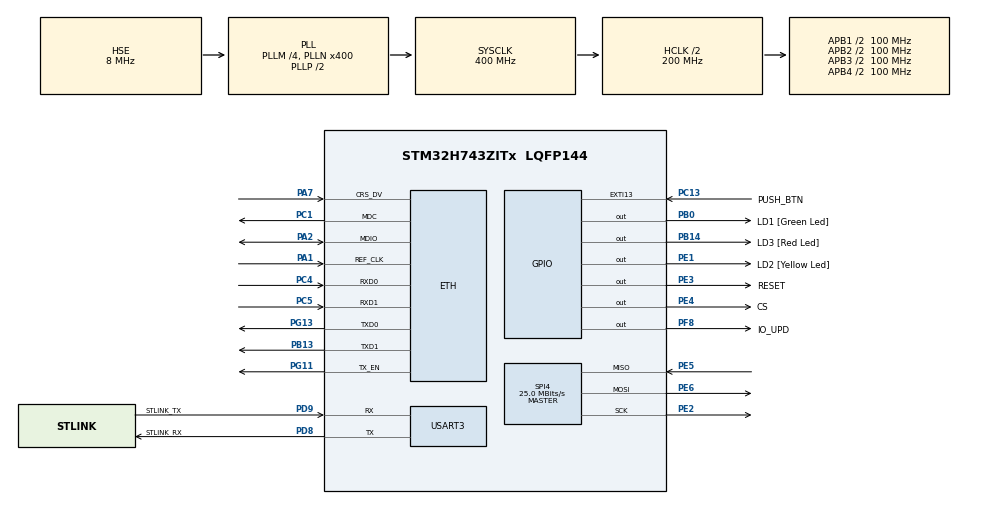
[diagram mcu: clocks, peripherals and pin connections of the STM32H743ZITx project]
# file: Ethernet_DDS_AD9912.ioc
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Mcu.Family=STM32H7
LWIP0.BSP.STBoard=false
VP_SYS_VS_tim6.Mode=TIM6
RCC.CortexFreq_Value=400000000
SPI4.VirtualType=VM_MASTER
RCC.HPRE=RCC_HCLK_DIV2
NVIC.TIM6_DAC_IRQn=true\:0\:0\:false\:false\:true\:false\:false\:true
PH0-OSC_IN\ (PH0).Signal=RCC_OSC_IN
PB14.GPIO_Label=LD3 [Red Led]
SPI4.Direction=SPI_DIRECTION_2LINES
PA2.GPIO_Speed=GPIO_SPEED_FREQ_HIGH
PE2.GPIO_Speed=GPIO_SPEED_FREQ_HIGH
PD9.GPIO_Speed=GPIO_SPEED_FREQ_HIGH
PB0.GPIO_Label=LD1 [Green Led]
PC5.Mode=RMII
PC13.GPIO_Label=PUSH_BTN
PB13.Signal=ETH_TXD1
PG13.Signal=ETH_TXD0
PD9.Mode=Asynchronous
PG11.Signal=ETH_TX_EN
RCC.SYSCLKSource=RCC_SYSCLKSOURCE_PLLCLK
ProjectManager.StackSize=0x400
USART3.VirtualMode-Asynchronous=VM_ASYNC
CORTEX_M7.Enable-Cortex_Memory_Protection_Unit_Region0_Settings=MPU_REGION_ENABLE
CORTEX_M7.IsBufferable-Cortex_Memory_Protection_Unit_Region1_Settings=MPU_ACCESS_NOT_BUFFERABLE
SPI4.Mode=SPI_MODE_MASTER
RCC.HCLKFreq_Value=200000000
PE2.Mode=Full_Duplex_Master
PD8.Signal=USART3_TX
PE5.Signal=SPI4_MISO
PE1.Signal=GPIO_Output
NVIC.ETH_IRQn=true\:5\:0\:false\:false\:true\:true\:true\:true
NVIC.EXTI15_10_IRQn=true\:5\:0\:false\:false\:true\:true\:true\:true
RCC.HSE_VALUE=8000000
RCC.DIVM1=4
PG11.GPIO_Speed=GPIO_SPEED_FREQ_HIGH
PC4.GPIO_Speed=GPIO_SPEED_FREQ_HIGH
PE4.GPIO_Speed=GPIO_SPEED_FREQ_VERY_HIGH
PE4.GPIO_Label=CS
PE2.Signal=SPI4_SCK
PG13.Mode=RMII
VP_FREERTOS_VS_CMSIS_V1.Mode=CMSIS_V1
LWIP0.BSP.solution=LAN8742
PE4.Signal=GPIO_Output
SPI4.BaudRatePrescaler=SPI_BAUDRATEPRESCALER_4
RCC.APB3Freq_Value=100000000
LWIP0.BSP.component=LAN8742
Mcu.Package=LQFP144
NVIC.TimeBase=TIM6_DAC_IRQn
RCC.D1PPRE=RCC_APB3_DIV2
CORTEX_M7.BaseAddress-Cortex_Memory_Protection_Unit_Region1_Settings=0x30044000
NVIC.TimeBaseIP=TIM6
PF8.Signal=GPIO_Output
CORTEX_M7.Size-Cortex_Memory_Protection_Unit_Region1_Settings=MPU_REGION_SIZE_16KB
RCC.APB4Freq_Value=100000000
CORTEX_M7.Enable-Cortex_Memory_Protection_Unit_Region1_Settings=MPU_REGION_ENABLE
PG13.GPIO_Speed=GPIO_SPEED_FREQ_HIGH
PC5.Signal=ETH_RXD1
PB13.Mode=RMII
CORTEX_M7.IsShareable-Cortex_Memory_Protection_Unit_Region1_Settings=MPU_ACCESS_SHAREABLE
PE6.GPIO_Speed=GPIO_SPEED_FREQ_HIGH
PH0-OSC_IN\ (PH0).Mode=HSE-External-Clock-Source
CORTEX_M7.IsBufferable-Cortex_Memory_Protection_Unit_Region0_Settings=MPU_ACCESS_BUFFERABLE
PC4.Mode=RMII
RCC.PLLSourceVirtual=RCC_PLLSOURCE_HSE
CORTEX_M7.CPU_ICache=Enabled
FREERTOS.Tasks01=Start,0,512,StartThread,Default,NULL,Dynamic,NULL,NULL
PA7.Mode=RMII
LWIP0.BSP.i2caddr=0
PD9.GPIO_Label=STLINK_TX
SPI4.DataSize=SPI_DATASIZE_8BIT
PC13.Signal=GPXTI13
PC4.Signal=ETH_RXD0
ETH.MACAddr=02\:00\:00\:00\:00\:00
RCC.D2PPRE2=RCC_APB2_DIV2
RCC.D2PPRE1=RCC_APB1_DIV2
PD9.Signal=USART3_RX
VP_LWIP_VS_Enabled.Mode=Enabled
PF8.GPIO_Label=IO_UPD
PD8.GPIO_Label=STLINK_RX
PB0.GPIO_Speed=GPIO_SPEED_FREQ_VERY_HIGH
CORTEX_M7.MPU_Control=MPU_PRIVILEGED_DEFAULT
ProjectManager.TargetToolchain=STM32CubeIDE
PB14.GPIO_Speed=GPIO_SPEED_FREQ_VERY_HIGH
CORTEX_M7.TypeExtField-Cortex_Memory_Protection_Unit_Region1_Settings=MPU_TEX_LEVEL1
RCC.DIVN1=400
PB13.GPIO_Speed=GPIO_SPEED_FREQ_HIGH
CORTEX_M7.BaseAddress-Cortex_Memory_Protection_Unit_Region0_Settings=0x30040000
LWIP0.BSP.instance=LAN8742
RCC.USBFreq_Value=400000000
LWIP0.BSP.api=BSP_COMPONENT_DRIVER
PD8.Mode=Asynchronous
PA1.Signal=ETH_REF_CLK
PB14.Signal=GPIO_Output
board=NUCLEO-H743ZI2
PE1.GPIO_Label=LD2 [Yellow Led]
PA7.GPIO_Speed=GPIO_SPEED_FREQ_HIGH
RCC.APB2Freq_Value=100000000
PA1.Mode=RMII
PE6.Mode=Full_Duplex_Master
PA1.GPIO_Speed=GPIO_SPEED_FREQ_HIGH
PE1.GPIO_Speed=GPIO_SPEED_FREQ_VERY_HIGH
PE5.Mode=Full_Duplex_Master
RCC.ADCFreq_Value=16125000
CORTEX_M7.AccessPermission-Cortex_Memory_Protection_Unit_Region0_Settings=MPU_REGION_FULL_ACCESS
PC1.GPIO_Speed=GPIO_SPEED_FREQ_HIGH
SPI4.CalculateBaudRate=25.0 MBits/s
PE6.Signal=SPI4_MOSI
Mcu.Name=STM32H743ZITx
CORTEX_M7.Size-Cortex_Memory_Protection_Unit_Region0_Settings=MPU_REGION_SIZE_256B
PA2.Signal=ETH_MDIO
CORTEX_M7.AccessPermission-Cortex_Memory_Protection_Unit_Region1_Settings=MPU_REGION_FULL_ACCESS
RCC.SYSCLKFreq_VALUE=400000000
ETH.MediaInterface=HAL_ETH_RMII_MODE
LWIP.BSP.number=1
PE3.GPIO_Speed=GPIO_SPEED_FREQ_VERY_HIGH
PG11.Mode=RMII
ProjectManager.HeapSize=0x200
LWIP.Version=v2.1.2_Cube
PD8.GPIO_Speed=GPIO_SPEED_FREQ_HIGH
NVIC.PriorityGroup=NVIC_PRIORITYGROUP_4
PC5.GPIO_Speed=GPIO_SPEED_FREQ_HIGH
PF8.GPIO_Speed=GPIO_SPEED_FREQ_VERY_HIGH
PE5.GPIO_Speed=GPIO_SPEED_FREQ_HIGH
PA2.Mode=RMII
PE3.Signal=GPIO_Output
PE3.GPIO_Label=RESET
RCC.D3PPRE=RCC_APB4_DIV2
CORTEX_M7.CPU_DCache=Enabled
LWIP0.BSP.name=Driver_PHY
RCC.APB1Freq_Value=100000000
PB0.Signal=GPIO_Output
PC1.Signal=ETH_MDC
PC1.Mode=RMII
PA7.Signal=ETH_CRS_DV

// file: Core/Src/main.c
/* USER CODE BEGIN Header */
/**
  ******************************************************************************
  * @file           : main.c
  * @brief          : Main program body
  ******************************************************************************
  * @attention
  *
  * <h2><center>&copy; Copyright (c) 2021 STMicroelectronics.
  * All rights reserved.</center></h2>
  *
  * This software component is licensed by ST under BSD 3-Clause license,
  * the "License"; You may not use this file except in compliance with the
  * License. You may obtain a copy of the License at:
  *                        opensource.org/licenses/BSD-3-Clause
  *
  ******************************************************************************
  */
/* USER CODE END Header */
#include "main.h"
#include "cmsis_os.h"
#include "lwip.h"

/* USER CODE BEGIN Includes */
#include "lwip/sockets.h"

#include <string.h>
#include <stdio.h>
#include <stdlib.h>
/* USER CODE END Includes */

/* USER CODE BEGIN PD */
#define PORT	22
#define SERVER	"192.168.2.123"
/* USER CODE END PD */

SPI_HandleTypeDef hspi4;

UART_HandleTypeDef huart3;

osThreadId StartHandle;
/* USER CODE BEGIN PV */
osThreadId ClientHandle;
int sock, g;
struct sockaddr_in address;
err_t err = -1;

char uart_bufT[1000];
char get_info[1000];
int get_state = 0;
//char uart_bufR[100];
int uart_buf_len;

char spi_buf[100];
char spi_addr[20];

const uint16_t READ_Intruction = 0x8000;

const uint16_t Config_Addr = 0x0000;
const uint8_t SDO_Active = 0x18 | 0x81; // 0x81 or 0x01

const uint16_t Read_Buffer_Addr = 0x0004;
const uint8_t Read_Buffer = 0x00 | 0x01;	// read buffered registers instead of currently used
const uint8_t Read_Currently = 0x00;

const uint16_t UPD_Addr = 0x0005;
const uint8_t UPD_Auto = 0x00 | 0x01;	// Automatically Update registers

const uint16_t Power_Addr = 0x0010;
const uint8_t PLL_Bypassed = 0xD0;	// Power of PLL_Multiplier will be down
const uint8_t PLL_Enabled = 0xC0;	// Power of PLL_Multiplier will be up

const uint16_t N_divider_Addr = 0x0020;
uint8_t N_Divider = 0x03;	// range 0x00 to 0x1F (0 to 31) + 2 = 2 to 33. def. is 0x12 (18) + 2 = 20 (x 2) = 40 (sysclk = 25 MHz) = 1 GHz

const uint16_t FTW_Addr6 = 0x01A6;
const uint16_t FTW_Addr7 = 0x01A7;
const uint16_t FTW_Addr8 = 0x01A8;
const uint16_t FTW_Addr9 = 0x01A9;
const uint16_t FTW_AddrA = 0x01AA;
const uint16_t FTW_AddrB = 0x01AB;
double f_s = 1000.0;	// MHz of sysclk
double f_DDS = 0.0;	// MHz of initial frequency
double f_ref = 100.0;	// MHz of reference frequency

const uint16_t DAC_Current_AddrB = 0x040B;
const uint16_t DAC_Current_AddrC = 0x040C;
const double I_DAC_REF = 0.120;	// mA if R_DAC_REF = 10 k[ohm]
const double I_DAC_FS = 10.0;	// mA in output

char help[] = "\nCorrect format for communication with DDS AD9912:\r\n"
			  "\r\n"
			  "for getting help!\r\n"
			  "help\r\n"
			  "\r\n"
			  "for closing connection!\r\n"
			  "exit\r\n"
			  "\r\n"
			  "for sending values:\r\n"
			  "DDS:state val\r\n"
			  "\r\n"
			  "EXAMPLE:\r\n"
			  "DDS:FREQ 120.56842\r\n"
			  "\r\n"
			  "for sending more state:\r\n"
			  "DDS:state val;state val;...\r\n"
			  "\r\n"
			  "for getting values:\r\n"
			  "DDS:state?\r\n"
		      "\r\n"
			  "for getting MAX and MIN values:\r\n"
			  "DDS:state :MAX\r\n"
			  "and\r\n"
			  "DDS:state :MIN\r\n"
			  "\r\n"
			  "all states:\r\n"
			  "state1: FREQ; state2: AMP; state3: REF\r\n"
			  "\r\n"
			  "REF should be 100 MHz, 250 MHz, or 1000 MHz\r\n";
/* USER CODE END PV */

void SystemClock_Config(void);
static void MPU_Config(void);
static void MX_GPIO_Init(void);
static void MX_SPI4_Init(void);
static void MX_USART3_UART_Init(void);
void StartThread(void const * argument);

/* USER CODE BEGIN PFP */
void AcceptanceNewClient(int * argument);
int ExtractMessage(char* msg);
void send_freq(double fdds);
void send_current(double idac);
void set_ref(double ref);
void get_freq(void);
void get_max_freq(void);
void get_min_freq(void);
void get_current(void);
void get_max_current(void);
void get_min_current(void);
void get_ref(void);
void get_max_ref(void);
void get_min_ref(void);
/* USER CODE END PFP */

int main(void)
{

  /* MPU Configuration--------------------------------------------------------*/
  MPU_Config();

  /* Enable I-Cache---------------------------------------------------------*/
  SCB_EnableICache();

  /* Enable D-Cache---------------------------------------------------------*/
  SCB_EnableDCache();

  /* MCU Configuration--------------------------------------------------------*/

  /* Reset of all peripherals, Initializes the Flash interface and the Systick. */
  HAL_Init();

  /* Configure the system clock */
  SystemClock_Config();

  /* Initialize all configured peripherals */
  MX_GPIO_Init();
  MX_SPI4_Init();
  MX_USART3_UART_Init();
  /* USER CODE BEGIN 2 */

  // CS should be High by default
  HAL_GPIO_WritePin(CS_GPIO_Port, CS_Pin, GPIO_PIN_SET);

  // star communication by UART
  uart_buf_len = sprintf(uart_bufT, "Ethernet Communication with AD9912\r\n");
  HAL_UART_Transmit(&huart3, (uint8_t*)uart_bufT, uart_buf_len, 100);

  // RESET DDS chip
  HAL_GPIO_WritePin(RESET_GPIO_Port, RESET_Pin, GPIO_PIN_SET);
  HAL_Delay(1);
  HAL_GPIO_WritePin(RESET_GPIO_Port, RESET_Pin, GPIO_PIN_RESET);

  // active SDO Pin
  spi_addr[0] = ((uint8_t*)&Config_Addr)[1];
  spi_addr[1] = ((uint8_t*)&Config_Addr)[0];
  HAL_GPIO_WritePin(CS_GPIO_Port, CS_Pin, GPIO_PIN_RESET);
  HAL_SPI_Transmit(&hspi4, (uint8_t*)&spi_addr, 2, 100);
  HAL_SPI_Transmit(&hspi4, (uint8_t*)&SDO_Active, 1, 100);
  HAL_GPIO_WritePin(CS_GPIO_Port, CS_Pin, GPIO_PIN_SET);

  // active Automatically update registers
//  spi_addr[0] = ((uint8_t*)&UPD_Addr)[1];
//  spi_addr[1] = ((uint8_t*)&UPD_Addr)[0];
//  HAL_GPIO_WritePin(CS_GPIO_Port, CS_Pin, GPIO_PIN_RESET);
//  HAL_SPI_Transmit(&hspi4, (uint8_t*)&spi_addr, 2, 100);
//  HAL_SPI_Transmit(&hspi4, (uint8_t*)&UPD_Auto, 1, 100);
//  HAL_GPIO_WritePin(CS_GPIO_Port, CS_Pin, GPIO_PIN_SET);

  // read buffered registers instead of currently used
//  spi_addr[0] = ((uint8_t*)&Read_Buffer_Addr)[1];
//  spi_addr[1] = ((uint8_t*)&Read_Buffer_Addr)[0];
//  HAL_GPIO_WritePin(CS_GPIO_Port, CS_Pin, GPIO_PIN_RESET);
//  HAL_SPI_Transmit(&hspi4, (uint8_t*)&spi_addr, 2, 100);
//  HAL_SPI_Transmit(&hspi4, (uint8_t*)&Read_Buffer, 1, 100);
//  HAL_GPIO_WritePin(CS_GPIO_Port, CS_Pin, GPIO_PIN_SET);

  // active PLL bypassed or enabled
  spi_addr[0] = ((uint8_t*)&Power_Addr)[1];
  spi_addr[1] = ((uint8_t*)&Power_Addr)[0];
  HAL_GPIO_WritePin(CS_GPIO_Port, CS_Pin, GPIO_PIN_RESET);
  HAL_SPI_Transmit(&hspi4, (uint8_t*)&spi_addr, 2, 100);
//  HAL_SPI_Transmit(&hspi4, (uint8_t*)&PLL_Bypassed, 1, 100);
  HAL_SPI_Transmit(&hspi4, (uint8_t*)&PLL_Enabled, 1, 100);
  HAL_GPIO_WritePin(CS_GPIO_Port, CS_Pin, GPIO_PIN_SET);

  // set N-divider for PLL
  spi_addr[0] = ((uint8_t*)&N_divider_Addr)[1];
  spi_addr[1] = ((uint8_t*)&N_divider_Addr)[0];
  HAL_GPIO_WritePin(CS_GPIO_Port, CS_Pin, GPIO_PIN_RESET);
  HAL_SPI_Transmit(&hspi4, (uint8_t*)&spi_addr, 2, 100);
  HAL_SPI_Transmit(&hspi4, (uint8_t*)&N_Divider, 1, 100);
  HAL_GPIO_WritePin(CS_GPIO_Port, CS_Pin, GPIO_PIN_SET);

  /* USER CODE END 2 */

  /* Create the thread(s) */
  /* definition and creation of Start */
  osThreadDef(Start, StartThread, osPriorityNormal, 0, 512);
  StartHandle = osThreadCreate(osThread(Start), NULL);

  /* Start scheduler */
  osKernelStart();

  /* We should never get here as control is now taken by the scheduler */
  /* Infinite loop */
  while (1)
  {

  }
}

void SystemClock_Config(void)
{
  RCC_OscInitTypeDef RCC_OscInitStruct = {0};
  RCC_ClkInitTypeDef RCC_ClkInitStruct = {0};

  /** Supply configuration update enable
  */
  HAL_PWREx_ConfigSupply(PWR_LDO_SUPPLY);
  /** Configure the main internal regulator output voltage
  */
  __HAL_PWR_VOLTAGESCALING_CONFIG(PWR_REGULATOR_VOLTAGE_SCALE1);

  while(!__HAL_PWR_GET_FLAG(PWR_FLAG_VOSRDY)) {}
  /** Initializes the RCC Oscillators according to the specified parameters
  * in the RCC_OscInitTypeDef structure.
  */
  RCC_OscInitStruct.OscillatorType = RCC_OSCILLATORTYPE_HSE;
  RCC_OscInitStruct.HSEState = RCC_HSE_BYPASS;
  RCC_OscInitStruct.PLL.PLLState = RCC_PLL_ON;
  RCC_OscInitStruct.PLL.PLLSource = RCC_PLLSOURCE_HSE;
  RCC_OscInitStruct.PLL.PLLM = 4;
  RCC_OscInitStruct.PLL.PLLN = 400;
  RCC_OscInitStruct.PLL.PLLP = 2;
  RCC_OscInitStruct.PLL.PLLQ = 2;
  RCC_OscInitStruct.PLL.PLLR = 2;
  RCC_OscInitStruct.PLL.PLLRGE = RCC_PLL1VCIRANGE_1;
  RCC_OscInitStruct.PLL.PLLVCOSEL = RCC_PLL1VCOWIDE;
  RCC_OscInitStruct.PLL.PLLFRACN = 0;
  if (HAL_RCC_OscConfig(&RCC_OscInitStruct) != HAL_OK)
  {
    Error_Handler();
  }
  /** Initializes the CPU, AHB and APB buses clocks
  */
  RCC_ClkInitStruct.ClockType = RCC_CLOCKTYPE_HCLK|RCC_CLOCKTYPE_SYSCLK
                              |RCC_CLOCKTYPE_PCLK1|RCC_CLOCKTYPE_PCLK2
                              |RCC_CLOCKTYPE_D3PCLK1|RCC_CLOCKTYPE_D1PCLK1;
  RCC_ClkInitStruct.SYSCLKSource = RCC_SYSCLKSOURCE_PLLCLK;
  RCC_ClkInitStruct.SYSCLKDivider = RCC_SYSCLK_DIV1;
  RCC_ClkInitStruct.AHBCLKDivider = RCC_HCLK_DIV2;
  RCC_ClkInitStruct.APB3CLKDivider = RCC_APB3_DIV2;
  RCC_ClkInitStruct.APB1CLKDivider = RCC_APB1_DIV2;
  RCC_ClkInitStruct.APB2CLKDivider = RCC_APB2_DIV2;
  RCC_ClkInitStruct.APB4CLKDivider = RCC_APB4_DIV2;

  if (HAL_RCC_ClockConfig(&RCC_ClkInitStruct, FLASH_LATENCY_2) != HAL_OK)
  {
    Error_Handler();
  }
}

static void MX_SPI4_Init(void)
{

  /* SPI4 parameter configuration*/
  hspi4.Instance = SPI4;
  hspi4.Init.Mode = SPI_MODE_MASTER;
  hspi4.Init.Direction = SPI_DIRECTION_2LINES;
  hspi4.Init.DataSize = SPI_DATASIZE_8BIT;
  hspi4.Init.CLKPolarity = SPI_POLARITY_LOW;
  hspi4.Init.CLKPhase = SPI_PHASE_1EDGE;
  hspi4.Init.NSS = SPI_NSS_SOFT;
  hspi4.Init.BaudRatePrescaler = SPI_BAUDRATEPRESCALER_4;
  hspi4.Init.FirstBit = SPI_FIRSTBIT_MSB;
  hspi4.Init.TIMode = SPI_TIMODE_DISABLE;
  hspi4.Init.CRCCalculation = SPI_CRCCALCULATION_DISABLE;
  hspi4.Init.CRCPolynomial = 0x0;
  hspi4.Init.NSSPMode = SPI_NSS_PULSE_ENABLE;
  hspi4.Init.NSSPolarity = SPI_NSS_POLARITY_LOW;
  hspi4.Init.FifoThreshold = SPI_FIFO_THRESHOLD_01DATA;
  hspi4.Init.TxCRCInitializationPattern = SPI_CRC_INITIALIZATION_ALL_ZERO_PATTERN;
  hspi4.Init.RxCRCInitializationPattern = SPI_CRC_INITIALIZATION_ALL_ZERO_PATTERN;
  hspi4.Init.MasterSSIdleness = SPI_MASTER_SS_IDLENESS_00CYCLE;
  hspi4.Init.MasterInterDataIdleness = SPI_MASTER_INTERDATA_IDLENESS_00CYCLE;
  hspi4.Init.MasterReceiverAutoSusp = SPI_MASTER_RX_AUTOSUSP_DISABLE;
  hspi4.Init.MasterKeepIOState = SPI_MASTER_KEEP_IO_STATE_DISABLE;
  hspi4.Init.IOSwap = SPI_IO_SWAP_DISABLE;
  if (HAL_SPI_Init(&hspi4) != HAL_OK)
  {
    Error_Handler();
  }

}

static void MX_USART3_UART_Init(void)
{

  huart3.Instance = USART3;
  huart3.Init.BaudRate = 115200;
  huart3.Init.WordLength = UART_WORDLENGTH_8B;
  huart3.Init.StopBits = UART_STOPBITS_1;
  huart3.Init.Parity = UART_PARITY_NONE;
  huart3.Init.Mode = UART_MODE_TX_RX;
  huart3.Init.HwFlowCtl = UART_HWCONTROL_NONE;
  huart3.Init.OverSampling = UART_OVERSAMPLING_16;
  huart3.Init.OneBitSampling = UART_ONE_BIT_SAMPLE_DISABLE;
  huart3.Init.ClockPrescaler = UART_PRESCALER_DIV1;
  huart3.AdvancedInit.AdvFeatureInit = UART_ADVFEATURE_NO_INIT;
  if (HAL_UART_Init(&huart3) != HAL_OK)
  {
    Error_Handler();
  }
  if (HAL_UARTEx_SetTxFifoThreshold(&huart3, UART_TXFIFO_THRESHOLD_1_8) != HAL_OK)
  {
    Error_Handler();
  }
  if (HAL_UARTEx_SetRxFifoThreshold(&huart3, UART_RXFIFO_THRESHOLD_1_8) != HAL_OK)
  {
    Error_Handler();
  }
  if (HAL_UARTEx_DisableFifoMode(&huart3) != HAL_OK)
  {
    Error_Handler();
  }

}

static void MX_GPIO_Init(void)
{
  GPIO_InitTypeDef GPIO_InitStruct = {0};

  /* GPIO Ports Clock Enable */
  __HAL_RCC_GPIOE_CLK_ENABLE();
  __HAL_RCC_GPIOC_CLK_ENABLE();
  __HAL_RCC_GPIOF_CLK_ENABLE();
  __HAL_RCC_GPIOH_CLK_ENABLE();
  __HAL_RCC_GPIOA_CLK_ENABLE();
  __HAL_RCC_GPIOB_CLK_ENABLE();
  __HAL_RCC_GPIOD_CLK_ENABLE();
  __HAL_RCC_GPIOG_CLK_ENABLE();

  /*Configure GPIO pin Output Level */
  HAL_GPIO_WritePin(GPIOE, RESET_Pin|CS_Pin|LD2_Pin, GPIO_PIN_RESET);

  /*Configure GPIO pin Output Level */
  HAL_GPIO_WritePin(IO_UPD_GPIO_Port, IO_UPD_Pin, GPIO_PIN_RESET);

  /*Configure GPIO pin Output Level */
  HAL_GPIO_WritePin(GPIOB, LD1_Pin|LD3_Pin, GPIO_PIN_RESET);

  /*Configure GPIO pins : RESET_Pin CS_Pin LD2_Pin */
  GPIO_InitStruct.Pin = RESET_Pin|CS_Pin|LD2_Pin;
  GPIO_InitStruct.Mode = GPIO_MODE_OUTPUT_PP;
  GPIO_InitStruct.Pull = GPIO_NOPULL;
  GPIO_InitStruct.Speed = GPIO_SPEED_FREQ_VERY_HIGH;
  HAL_GPIO_Init(GPIOE, &GPIO_InitStruct);

  /*Configure GPIO pin : PUSH_BTN_Pin */
  GPIO_InitStruct.Pin = PUSH_BTN_Pin;
  GPIO_InitStruct.Mode = GPIO_MODE_IT_RISING;
  GPIO_InitStruct.Pull = GPIO_NOPULL;
  HAL_GPIO_Init(PUSH_BTN_GPIO_Port, &GPIO_InitStruct);

  /*Configure GPIO pin : IO_UPD_Pin */
  GPIO_InitStruct.Pin = IO_UPD_Pin;
  GPIO_InitStruct.Mode = GPIO_MODE_OUTPUT_PP;
  GPIO_InitStruct.Pull = GPIO_NOPULL;
  GPIO_InitStruct.Speed = GPIO_SPEED_FREQ_VERY_HIGH;
  HAL_GPIO_Init(IO_UPD_GPIO_Port, &GPIO_InitStruct);

  /*Configure GPIO pins : LD1_Pin LD3_Pin */
  GPIO_InitStruct.Pin = LD1_Pin|LD3_Pin;
  GPIO_InitStruct.Mode = GPIO_MODE_OUTPUT_PP;
  GPIO_InitStruct.Pull = GPIO_NOPULL;
  GPIO_InitStruct.Speed = GPIO_SPEED_FREQ_VERY_HIGH;
  HAL_GPIO_Init(GPIOB, &GPIO_InitStruct);

  /* EXTI interrupt init*/
  HAL_NVIC_SetPriority(EXTI15_10_IRQn, 5, 0);
  HAL_NVIC_EnableIRQ(EXTI15_10_IRQn);

}

/* USER CODE BEGIN 4 */
void AcceptanceNewClient(int * argument)
{

	char msg[200] = {};
	int newVal = 0, state = 1;
	int conn = *argument;

	while(1)
	{

		if(newVal == 3){

			close(conn);
			uart_buf_len = sprintf(uart_bufT, "finished! \r\n");
			HAL_UART_Transmit(&huart3, (uint8_t*)uart_bufT, uart_buf_len, 100);
			osThreadTerminate(NULL);
//			osThreadSuspend(NULL);
		}else if(newVal == 2){

			newVal = 0;
		}else{

			memset(msg, 0, sizeof msg);
			state = read(conn, (char*)msg, 200);
			newVal = ExtractMessage(msg);
			send(conn, (char*)uart_bufT, strlen(uart_bufT), 0);	// we have to use send instead of write for avoiding of crash

			if(state <= 0){

				newVal = 3;
			}
		}
		osDelay(100);
	}
}

int ExtractMessage(char* msg){

	char temp[100] = {};
	int j = 0, f1 = 1, f2 = 1, f3 = 0;
	memset(get_info, 0, sizeof get_info);

	for(int i = 0; i < strlen(msg); i++){

		if(msg[i] == ':'){

			if(strcmp(temp, "DDS") != 0){

				uart_buf_len = sprintf(uart_bufT, "wrong msg: %s\r\n\n%s\r\n", (char*)temp, (char*)help);
				HAL_UART_Transmit(&huart3, (uint8_t*)uart_bufT, uart_buf_len, 100);
				return 0;
			}else{

				f1 = 1;
				j = 0;
				memset(temp, 0, sizeof temp);
				while(f1){

					i++;

					if(msg[i] == ' ' || msg[i] == '?'){

						f2 = 1;

						if(strcmp(temp, "FREQ") == 0){

							j = 0;
							memset(temp, 0, sizeof temp);

							if(msg[i] == '?'){

								get_freq();
								f2 = 0;
								f3 = 1;
							}

							while(f2){

								i++;

								if(strcmp(temp, ":MAX") == 0){

									get_max_freq();
								}else if(strcmp(temp, ":MIN") == 0){

									get_min_freq();
								}else if(msg[i] == ';'){

									send_freq(atof(temp));
									j = 0;
									memset(temp, 0, sizeof temp);
								}else if(i >= strlen(msg)){

									send_freq(atof(temp));
									j = 0;
									memset(temp, 0, sizeof temp);
								}else{

									temp[j] = msg[i];
									j++;
									continue;
								}

								f2 = 0;
								f3 = 1;
							}
						}else if(strcmp(temp, "AMP") == 0){

							j = 0;
							memset(temp, 0, sizeof temp);

							if(msg[i] == '?'){

								get_current();
								f2 = 0;
								f3 = 1;
							}

							while(f2){

								i++;

								if(strcmp(temp, ":MAX") == 0){

									get_max_current();
								}else if(strcmp(temp, ":MIN") == 0){

									get_min_current();
								}else if(msg[i] == ';'){

									send_current(atof(temp));
									j = 0;
									memset(temp, 0, sizeof temp);
								}else if(i >= strlen(msg)){

									send_current(atof(temp));
									j = 0;
									memset(temp, 0, sizeof temp);
								}else{

									temp[j] = msg[i];
									j++;
									continue;
								}

								f2 = 0;
								f3 = 1;
							}
						}else if(strcmp(temp, "REF") == 0){

							j = 0;
							memset(temp, 0, sizeof temp);

							if(msg[i] == '?'){

								get_ref();
								f2 = 0;
								f3 = 1;
							}

							while(f2){

								i++;

								if(strcmp(temp, ":MAX") == 0){

									get_max_ref();
								}else if(strcmp(temp, ":MIN") == 0){

									get_min_ref();
								}else if(msg[i] == ';'){

									set_ref(atof(temp));
									j = 0;
									memset(temp, 0, sizeof temp);
								}else if(i >= strlen(msg)){

									set_ref(atof(temp));
									j = 0;
									memset(temp, 0, sizeof temp);
								}else{

									temp[j] = msg[i];
									j++;
									continue;
								}

								f2 = 0;
								f3 = 1;
							}
						}else{

							uart_buf_len = sprintf(uart_bufT, "the format is wrong: %s\r\n\n%s\r\n", (char*)temp, (char*)help);
							HAL_UART_Transmit(&huart3, (uint8_t*)uart_bufT, uart_buf_len, 100);
							return 0;
						}
					}else{

						temp[j] = msg[i];
						j++;
						continue;
					}

					while(f3){

						if(msg[i] == ';'){

							f3 = 0;
							continue;
						}else if(i >= strlen(msg)){

							f3 = 0;
							f1 = 0;
							uart_buf_len = sprintf(uart_bufT, "the message has been registered!\r\n");
							HAL_UART_Transmit(&huart3, (uint8_t*)uart_bufT, uart_buf_len, 100);

							if(get_state){
								strcat(get_info, uart_bufT);
								strcpy(uart_bufT, get_info);
								get_state = 0;
							}

							return 2;
						}
						i++;
					}
				}
			}
		}else{

			temp[j] = msg[i];

			if(strcmp(temp, "exit") == 0 || strcmp(temp, "Exit") == 0 || strcmp(temp, "EXIT") == 0){

				uart_buf_len = sprintf(uart_bufT, "Exit!\r\n");
				HAL_UART_Transmit(&huart3, (uint8_t*)uart_bufT, uart_buf_len, 100);

				return 3;
			}else if(strcmp(temp, "help") == 0 || strcmp(temp, "Help") == 0 || strcmp(temp, "HELP") == 0){

				uart_buf_len = sprintf(uart_bufT, "%s\r\n", (char*)help);
				HAL_UART_Transmit(&huart3, (uint8_t*)uart_bufT, uart_buf_len, 100);

				return 1;
			}

			j++;
			continue;
		}
	}

	uart_buf_len = sprintf(uart_bufT, "wrong msg: %s\r\n\n%s\r\n", (char*)temp, (char*)help);
	HAL_UART_Transmit(&huart3, (uint8_t*)uart_bufT, uart_buf_len, 100);
	return 0;
}

void send_freq(double fdds)
{
	uint64_t ftw;
	uint8_t value;

	if(fdds > 400.0){
		fdds = 400.0;
	}

	ftw = round((fdds/f_s) * pow(2, 48));

	spi_addr[0] = ((uint8_t*)&FTW_Addr6)[1];
	spi_addr[1] = ((uint8_t*)&FTW_Addr6)[0];
	HAL_GPIO_WritePin(CS_GPIO_Port, CS_Pin, GPIO_PIN_RESET);
	HAL_SPI_Transmit(&hspi4, (uint8_t *)&spi_addr, 2, 100);
	value = ((uint8_t *)&ftw)[0];
	HAL_SPI_Transmit(&hspi4, ((uint8_t *)&value), 1, 100);

	spi_addr[0] = ((uint8_t*)&FTW_Addr7)[1];
	spi_addr[1] = ((uint8_t*)&FTW_Addr7)[0];
	HAL_SPI_Transmit(&hspi4, (uint8_t *)&spi_addr, 2, 100);
	value = ((uint8_t *)&ftw)[1];
	HAL_SPI_Transmit(&hspi4, ((uint8_t *)&value), 1, 100);

	spi_addr[0] = ((uint8_t*)&FTW_Addr8)[1];
	spi_addr[1] = ((uint8_t*)&FTW_Addr8)[0];
	HAL_SPI_Transmit(&hspi4, (uint8_t *)&spi_addr, 2, 100);
	value = ((uint8_t *)&ftw)[2];
	HAL_SPI_Transmit(&hspi4, ((uint8_t *)&value), 1, 100);

	spi_addr[0] = ((uint8_t*)&FTW_Addr9)[1];
	spi_addr[1] = ((uint8_t*)&FTW_Addr9)[0];
	HAL_SPI_Transmit(&hspi4, (uint8_t *)&spi_addr, 2, 100);
	value = ((uint8_t *)&ftw)[3];
	HAL_SPI_Transmit(&hspi4, ((uint8_t *)&value), 1, 100);

	spi_addr[0] = ((uint8_t*)&FTW_AddrA)[1];
	spi_addr[1] = ((uint8_t*)&FTW_AddrA)[0];
	HAL_SPI_Transmit(&hspi4, (uint8_t *)&spi_addr, 2, 100);
	value = ((uint8_t *)&ftw)[4];
	HAL_SPI_Transmit(&hspi4, ((uint8_t *)&value), 1, 100);

	spi_addr[0] = ((uint8_t*)&FTW_AddrB)[1];
	spi_addr[1] = ((uint8_t*)&FTW_AddrB)[0];
	HAL_SPI_Transmit(&hspi4, (uint8_t *)&spi_addr, 2, 100);
	value = ((uint8_t *)&ftw)[5];
	HAL_SPI_Transmit(&hspi4, ((uint8_t *)&value), 1, 100);
	HAL_GPIO_WritePin(CS_GPIO_Port, CS_Pin, GPIO_PIN_SET);

	// Update registers
	HAL_GPIO_WritePin(IO_UPD_GPIO_Port, IO_UPD_Pin, GPIO_PIN_SET);
	osDelay(1);
	HAL_GPIO_WritePin(IO_UPD_GPIO_Port, IO_UPD_Pin, GPIO_PIN_RESET);
}

void send_current(double idac)
{
	uint16_t fsc;
	uint8_t value;

	if(idac < 8.6){

		idac = 8.6;
	}else if(idac > 31.7){

		idac = 31.7;
	}

	fsc = round(1024/192 * (idac/I_DAC_REF - 72));

	spi_addr[0] = ((uint8_t*)&DAC_Current_AddrB)[1];
	spi_addr[1] = ((uint8_t*)&DAC_Current_AddrB)[0];
	HAL_GPIO_WritePin(CS_GPIO_Port, CS_Pin, GPIO_PIN_RESET);
	HAL_SPI_Transmit(&hspi4, (uint8_t *)&spi_addr, 2, 100);
	value = ((uint8_t *)&fsc)[0];
	HAL_SPI_Transmit(&hspi4, ((uint8_t *)&value), 1, 100);

	spi_addr[0] = ((uint8_t*)&DAC_Current_AddrC)[1];
	spi_addr[1] = ((uint8_t*)&DAC_Current_AddrC)[0];
	HAL_SPI_Transmit(&hspi4, (uint8_t *)&spi_addr, 2, 100);
	value = ((uint8_t *)&fsc)[1];
	HAL_SPI_Transmit(&hspi4, ((uint8_t *)&value), 1, 100);
}

void set_ref(double ref)
{
	f_ref = ref;

	spi_addr[0] = ((uint8_t*)&Power_Addr)[1];
	spi_addr[1] = ((uint8_t*)&Power_Addr)[0];

	if(ref == 100.0){

		f_s = 1000.0;

		HAL_GPIO_WritePin(CS_GPIO_Port, CS_Pin, GPIO_PIN_RESET);
		HAL_SPI_Transmit(&hspi4, (uint8_t*)&spi_addr, 2, 100);
		HAL_SPI_Transmit(&hspi4, (uint8_t*)&PLL_Enabled, 1, 100);
		HAL_GPIO_WritePin(CS_GPIO_Port, CS_Pin, GPIO_PIN_SET);

//		// set N-divider for PLL
//		spi_addr[0] = ((uint8_t*)&N_divider_Addr)[1];
//		spi_addr[1] = ((uint8_t*)&N_divider_Addr)[0];
//		HAL_GPIO_WritePin(CS_GPIO_Port, CS_Pin, GPIO_PIN_RESET);
//		HAL_SPI_Transmit(&hspi4, (uint8_t*)&spi_addr, 2, 100);
//		HAL_SPI_Transmit(&hspi4, (uint8_t*)&N_Divider, 1, 100);
//		HAL_GPIO_WritePin(CS_GPIO_Port, CS_Pin, GPIO_PIN_SET);

	}else if(ref == 250.0 || ref == 1000.0){

		f_s = ref;

		HAL_GPIO_WritePin(CS_GPIO_Port, CS_Pin, GPIO_PIN_RESET);
		HAL_SPI_Transmit(&hspi4, (uint8_t*)&spi_addr, 2, 100);
		HAL_SPI_Transmit(&hspi4, (uint8_t*)&PLL_Bypassed, 1, 100);
		HAL_GPIO_WritePin(CS_GPIO_Port, CS_Pin, GPIO_PIN_SET);

		send_freq(f_DDS);
	}
}

void get_freq(){

	uint16_t address;
	uint64_t ftw = 0x0;
	double fDDS = 0;
//	uint16_t fcs = 0x0;
//	double IDAC = 0;

//	// read serial config. value
//	address = READ_Intruction | Config_Addr;
//	spi_addr[0] = ((uint8_t*)&address)[1];
//	spi_addr[1] = ((uint8_t*)&address)[0];
//	HAL_GPIO_WritePin(CS_GPIO_Port, CS_Pin, GPIO_PIN_RESET);
//	HAL_SPI_Transmit(&hspi4, (uint8_t*)&spi_addr, 2, 100);
//	HAL_SPI_Receive(&hspi4, (uint8_t*)spi_buf, 1, 100);
//	HAL_GPIO_WritePin(CS_GPIO_Port, CS_Pin, GPIO_PIN_SET);
//
//	uart_buf_len = sprintf(uart_bufT,
//			"Currently Serial Config. Value at the Address %#x is: %#x\r\n",
//			address, (unsigned int)spi_buf[0]);
//	strcat(get_info, uart_bufT);
//	HAL_UART_Transmit(&huart3, (uint8_t*)uart_bufT, uart_buf_len, 100);
//
//	// read power down and enabled value
//	address = READ_Intruction | Power_Addr;
//	spi_addr[0] = ((uint8_t*)&address)[1];
//	spi_addr[1] = ((uint8_t*)&address)[0];
//	HAL_GPIO_WritePin(CS_GPIO_Port, CS_Pin, GPIO_PIN_RESET);
//	HAL_SPI_Transmit(&hspi4, (uint8_t*)&spi_addr, 2, 100);
//	HAL_SPI_Receive(&hspi4, (uint8_t*)spi_buf, 1, 100);
//	HAL_GPIO_WritePin(CS_GPIO_Port, CS_Pin, GPIO_PIN_SET);
//
//	uart_buf_len = sprintf(uart_bufT,
//			"Currently Power Down Value at the Address %#x is: %#x\r\n",
//			address, (unsigned int)spi_buf[0]);
//	strcat(get_info, uart_bufT);
//	HAL_UART_Transmit(&huart3, (uint8_t*)uart_bufT, uart_buf_len, 100);
//
//	// read N-Divider value
//	address = READ_Intruction | N_divider_Addr;
//	spi_addr[0] = ((uint8_t*)&address)[1];
//	spi_addr[1] = ((uint8_t*)&address)[0];
//	HAL_GPIO_WritePin(CS_GPIO_Port, CS_Pin, GPIO_PIN_RESET);
//	HAL_SPI_Transmit(&hspi4, (uint8_t*)&spi_addr, 2, 100);
//	HAL_SPI_Receive(&hspi4, (uint8_t*)spi_buf, 1, 100);
//	HAL_GPIO_WritePin(CS_GPIO_Port, CS_Pin, GPIO_PIN_SET);
//
//	uart_buf_len = sprintf(uart_bufT,
//			"Currently N-Divider Value at the Address %#x is: %#x\r\n",
//			address, (unsigned int)spi_buf[0]);
//	strcat(get_info, uart_bufT);
//	HAL_UART_Transmit(&huart3, (uint8_t*)uart_bufT, uart_buf_len, 100);

	// read freq. value
	address = READ_Intruction | FTW_Addr6;
	spi_addr[0] = ((uint8_t*)&address)[1];
	spi_addr[1] = ((uint8_t*)&address)[0];
	HAL_GPIO_WritePin(CS_GPIO_Port, CS_Pin, GPIO_PIN_RESET);
	HAL_SPI_Transmit(&hspi4, (uint8_t*)&spi_addr, 2, 100);
	HAL_SPI_Receive(&hspi4, (uint8_t*)spi_buf, 1, 100);
	((uint8_t *)&ftw)[0] = (unsigned int)spi_buf[0];
	address = READ_Intruction | FTW_Addr7;
	spi_addr[0] = ((uint8_t*)&address)[1];
	spi_addr[1] = ((uint8_t*)&address)[0];
	HAL_SPI_Transmit(&hspi4, (uint8_t*)&spi_addr, 2, 100);
	HAL_SPI_Receive(&hspi4, (uint8_t*)spi_buf, 1, 100);
	((uint8_t *)&ftw)[1] = (unsigned int)spi_buf[0];
	address = READ_Intruction | FTW_Addr8;
	spi_addr[0] = ((uint8_t*)&address)[1];
	spi_addr[1] = ((uint8_t*)&address)[0];
	HAL_SPI_Transmit(&hspi4, (uint8_t*)&spi_addr, 2, 100);
	HAL_SPI_Receive(&hspi4, (uint8_t*)spi_buf, 1, 100);
	((uint8_t *)&ftw)[2] = (unsigned int)spi_buf[0];
	address = READ_Intruction | FTW_Addr9;
	spi_addr[0] = ((uint8_t*)&address)[1];
	spi_addr[1] = ((uint8_t*)&address)[0];
	HAL_SPI_Transmit(&hspi4, (uint8_t*)&spi_addr, 2, 100);
	HAL_SPI_Receive(&hspi4, (uint8_t*)spi_buf, 1, 100);
	((uint8_t *)&ftw)[3] = (unsigned int)spi_buf[0];
	address = READ_Intruction | FTW_AddrA;
	spi_addr[0] = ((uint8_t*)&address)[1];
	spi_addr[1] = ((uint8_t*)&address)[0];
	HAL_SPI_Transmit(&hspi4, (uint8_t*)&spi_addr, 2, 100);
	HAL_SPI_Receive(&hspi4, (uint8_t*)spi_buf, 1, 100);
	((uint8_t *)&ftw)[4] = (unsigned int)spi_buf[0];
	address = READ_Intruction | FTW_AddrB;
	spi_addr[0] = ((uint8_t*)&address)[1];
	spi_addr[1] = ((uint8_t*)&address)[0];
	HAL_SPI_Transmit(&hspi4, (uint8_t*)&spi_addr, 2, 100);
	HAL_SPI_Receive(&hspi4, (uint8_t*)spi_buf, 1, 100);
	((uint8_t *)&ftw)[5] = (unsigned int)spi_buf[0];
	HAL_GPIO_WritePin(CS_GPIO_Port, CS_Pin, GPIO_PIN_SET);

	fDDS = (ftw/pow(2, 48)) * f_s;
	uart_buf_len = sprintf(uart_bufT,
			"Currently Frequency Value is: %0.15f MHz with FTW: %#lx%lx\r\n",
			fDDS, ((uint32_t *)&ftw)[1], ((uint32_t *)&ftw)[0]);
	strcat(get_info, uart_bufT);
	HAL_UART_Transmit(&huart3, (uint8_t*)uart_bufT, uart_buf_len, 100);

	get_state = 1;
}

void get_max_freq(){

	double maxf = 0.4*f_s;

	uart_buf_len = sprintf(uart_bufT,
			"Maximum Output Frequency Value is: %0.3f MHz\r\n",
			maxf);
	strcat(get_info, uart_bufT);
	HAL_UART_Transmit(&huart3, (uint8_t*)uart_bufT, uart_buf_len, 100);

	get_state = 1;
}

void get_min_freq(){

	uart_buf_len = sprintf(uart_bufT,
			"Minimum Output Frequency Value is: %0.3f MHz\r\n",
			0.0);
	strcat(get_info, uart_bufT);
	HAL_UART_Transmit(&huart3, (uint8_t*)uart_bufT, uart_buf_len, 100);

	get_state = 1;
}

void get_current(){

	uint16_t address;
	uint16_t fcs = 0x0;
	double IDAC = 0;

	// read DAC Full Scale Current value
	address = READ_Intruction | DAC_Current_AddrB;
	spi_addr[0] = ((uint8_t*)&address)[1];
	spi_addr[1] = ((uint8_t*)&address)[0];
	HAL_GPIO_WritePin(CS_GPIO_Port, CS_Pin, GPIO_PIN_RESET);
	HAL_SPI_Transmit(&hspi4, (uint8_t*)&spi_addr, 2, 100);
	HAL_SPI_Receive(&hspi4, (uint8_t*)spi_buf, 1, 100);
	((uint8_t *)&fcs)[0] = (unsigned int)spi_buf[0];
	address = READ_Intruction | DAC_Current_AddrC;
	spi_addr[0] = ((uint8_t*)&address)[1];
	spi_addr[1] = ((uint8_t*)&address)[0];
	HAL_SPI_Transmit(&hspi4, (uint8_t*)&spi_addr, 2, 100);
	HAL_SPI_Receive(&hspi4, (uint8_t*)spi_buf, 1, 100);
	((uint8_t *)&fcs)[1] = (unsigned int)spi_buf[0];
	HAL_GPIO_WritePin(CS_GPIO_Port, CS_Pin, GPIO_PIN_SET);

	IDAC = (72 + (192 * fcs)/pow(2, 10)) * I_DAC_REF;
	uart_buf_len = sprintf(uart_bufT,
			"Currently Output Current Value is: %0.3f mA with FSC: %#x\r\n",
			IDAC, fcs);
	strcat(get_info, uart_bufT);
	HAL_UART_Transmit(&huart3, (uint8_t*)uart_bufT, uart_buf_len, 100);

	get_state = 1;
}

void get_max_current(){

	uart_buf_len = sprintf(uart_bufT,
			"Maximum Current Value is: %0.3f mA\r\n",
			31.7);
	strcat(get_info, uart_bufT);
	HAL_UART_Transmit(&huart3, (uint8_t*)uart_bufT, uart_buf_len, 100);

	get_state = 1;
}

void get_min_current(){

	uart_buf_len = sprintf(uart_bufT,
			"Minimum Current Value is: %0.3f mA\r\n",
			8.6);
	strcat(get_info, uart_bufT);
	HAL_UART_Transmit(&huart3, (uint8_t*)uart_bufT, uart_buf_len, 100);

	get_state = 1;
}

void get_ref(){

	uart_buf_len = sprintf(uart_bufT,
			"Currently Reference Frequency Value is: %0.3f MHz\r\n",
			f_ref);
	strcat(get_info, uart_bufT);
	HAL_UART_Transmit(&huart3, (uint8_t*)uart_bufT, uart_buf_len, 100);

	get_state = 1;
}

void get_max_ref(){

	uart_buf_len = sprintf(uart_bufT,
			"Maximum Reference Frequency Value is: %0.3f MHz\r\n",
			1000.0);
	strcat(get_info, uart_bufT);
	HAL_UART_Transmit(&huart3, (uint8_t*)uart_bufT, uart_buf_len, 100);

	get_state = 1;
}

void get_min_ref(){

	uart_buf_len = sprintf(uart_bufT,
			"Minimum Output Frequency Value is: %0.3f MHz\r\n",
			100.0);
	strcat(get_info, uart_bufT);
	HAL_UART_Transmit(&huart3, (uint8_t*)uart_bufT, uart_buf_len, 100);

	get_state = 1;
}

void HAL_GPIO_EXTI_Callback(uint16_t GPIO_Pin)
{
  if(GPIO_Pin==PUSH_BTN_Pin)
  {

	  HAL_GPIO_TogglePin(GPIOB, LD1_Pin);
  }
}

/* USER CODE END 4 */

void StartThread(void const * argument)
{
  /* init code for LWIP */
  MX_LWIP_Init();
  /* USER CODE BEGIN 5 */

  sock = socket(AF_INET, SOCK_STREAM, 0);

  address.sin_family = AF_INET;
  address.sin_port = htons(PORT);
  address.sin_addr.s_addr = INADDR_ANY;//inet_addr(SERVER);//INADDR_ANY;

  err = bind(sock, (struct sockaddr *)&address, sizeof (address));
  err = listen(sock, 0);

  // create the acceptance thread
  osThreadDef(Acceptance, AcceptanceNewClient, osPriorityLow, 0, configMINIMAL_STACK_SIZE *2);

  send_freq(f_DDS);

  /* Infinite loop */
  for(;;)
  {
		g =  accept(sock, NULL, NULL);

		if(g < 0){

			osDelay(100);
			continue;
		}

		ClientHandle = osThreadCreate(osThread(Acceptance), &g);

		uart_buf_len = sprintf(uart_bufT, "new connection...! \r\n"
									      "Connected to DDS_AD9912! \r\n\n%s\r\n", (char*)help);
		HAL_UART_Transmit(&huart3, (uint8_t*)uart_bufT, uart_buf_len, 100);
		write(g, (char*)uart_bufT, strlen(uart_bufT));
		HAL_GPIO_TogglePin(LD1_GPIO_Port, LD1_Pin);

		osDelay(100);
  }
  /* USER CODE END 5 */
}

/* MPU Configuration */

void MPU_Config(void)
{
  MPU_Region_InitTypeDef MPU_InitStruct = {0};

  /* Disables the MPU */
  HAL_MPU_Disable();
  /** Initializes and configures the Region and the memory to be protected
  */
  MPU_InitStruct.Enable = MPU_REGION_ENABLE;
  MPU_InitStruct.Number = MPU_REGION_NUMBER0;
  MPU_InitStruct.BaseAddress = 0x30040000;
  MPU_InitStruct.Size = MPU_REGION_SIZE_256B;
  MPU_InitStruct.SubRegionDisable = 0x0;
  MPU_InitStruct.TypeExtField = MPU_TEX_LEVEL0;
  MPU_InitStruct.AccessPermission = MPU_REGION_FULL_ACCESS;
  MPU_InitStruct.DisableExec = MPU_INSTRUCTION_ACCESS_ENABLE;
  MPU_InitStruct.IsShareable = MPU_ACCESS_NOT_SHAREABLE;
  MPU_InitStruct.IsCacheable = MPU_ACCESS_NOT_CACHEABLE;
  MPU_InitStruct.IsBufferable = MPU_ACCESS_BUFFERABLE;

  HAL_MPU_ConfigRegion(&MPU_InitStruct);
  /** Initializes and configures the Region and the memory to be protected
  */
  MPU_InitStruct.Number = MPU_REGION_NUMBER1;
  MPU_InitStruct.BaseAddress = 0x30044000;
  MPU_InitStruct.Size = MPU_REGION_SIZE_16KB;
  MPU_InitStruct.TypeExtField = MPU_TEX_LEVEL1;
  MPU_InitStruct.IsShareable = MPU_ACCESS_SHAREABLE;
  MPU_InitStruct.IsBufferable = MPU_ACCESS_NOT_BUFFERABLE;

  HAL_MPU_ConfigRegion(&MPU_InitStruct);
  /* Enables the MPU */
  HAL_MPU_Enable(MPU_PRIVILEGED_DEFAULT);

}
void HAL_TIM_PeriodElapsedCallback(TIM_HandleTypeDef *htim)
{
  if (htim->Instance == TIM6) {
    HAL_IncTick();
  }
}

void Error_Handler(void)
{
  __disable_irq();
  while (1)
  {
  }
}

/************************ (C) COPYRIGHT STMicroelectronics *****END OF FILE****/
